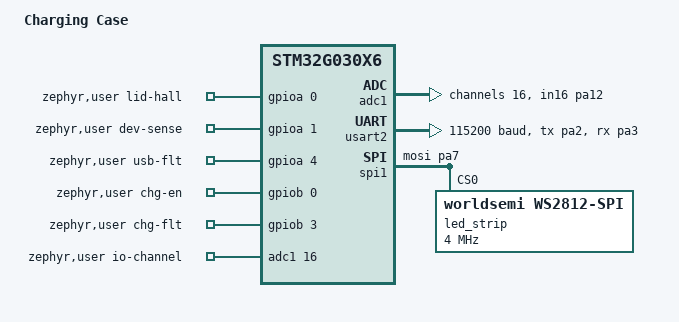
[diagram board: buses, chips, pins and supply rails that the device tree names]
/*
 * Copyright (c) 2025 Siratul Islam
 *
 * SPDX-License-Identifier: Apache-2.0
 */

/dts-v1/;
#include <st/g0/stm32g030X6.dtsi>
#include <st/g0/stm32g030f6px-pinctrl.dtsi>
#include <zephyr/dt-bindings/led/led.h>  
#include <zephyr/dt-bindings/spi/spi.h>

/ {
	model = "Charging Case";
	compatible = "dennischang,chg-case";

	chosen {
		zephyr,console = &usart2;
		zephyr,shell-uart = &usart2;
		zephyr,sram = &sram0;
		zephyr,flash = &flash0;
	};

	zephyr,user{
		lid-hall-gpios = <&gpioa 0 GPIO_ACTIVE_HIGH>; // PIN 7, LID_HALL_N (0V = closed)
		dev-sense-gpios = <&gpioa 1 GPIO_ACTIVE_HIGH>; // PIN 8, DEV_SENSE_N (0V = device present)
		usb-flt-gpios = <&gpioa 4 GPIO_ACTIVE_HIGH>; // PIN 9, USB_FLT_N (0V = fault)
		chg-en-gpios = <&gpiob 0 GPIO_ACTIVE_HIGH>; // PIN 15, EFUSE_CHG_EN (0V = disabled)
		chg-flt-gpios = <&gpiob 3 (GPIO_ACTIVE_HIGH | GPIO_PULL_UP)>; // PIN 20, EFUSE_CHG_FLT (0V = fault)
		io-channels = <&adc1 16>;                                       // PIN 17, PA12 = CHG_IMON
	};
};

&adc1 {
	clocks = <&rcc STM32_CLOCK(APB1_2, 20)>,
		 <&rcc STM32_SRC_SYSCLK ADC_SEL(0)>;
	clock-names = "adcx", "adc_ker";
	pinctrl-0 = <&adc1_in16_pa12>;
	pinctrl-names = "default";
	st,adc-clock-source = "ASYNC";
	st,adc-prescaler = <4>;
	vref-mv = <3300>;                  /* VDDA = 3V3 rail */
	#address-cells = <1>;
	#size-cells = <0>;
	status = "okay";

	channel@10 {                       /* @10 hex = channel 16 */
		reg = <16>;
		zephyr,gain = "ADC_GAIN_1";
		zephyr,reference = "ADC_REF_INTERNAL";
		zephyr,acquisition-time = <ADC_ACQ_TIME_DEFAULT>;
		zephyr,resolution = <12>;
	};
};

&clk_hsi {
	status = "okay";
};

&clk_lse {
	status = "okay";
};

&pll {
	div-m = <1>;
	mul-n = <8>;
	div-r = <2>;
	clocks = <&clk_hsi>;
	status = "okay";
};

&rcc {
	clocks = <&pll>;
	clock-frequency = <DT_FREQ_M(64)>;
	ahb-prescaler = <1>;
	apb1-prescaler = <1>;
};


&usart2 {
	pinctrl-0 = <&usart2_tx_pa2 &usart2_rx_pa3>;
	pinctrl-names = "default";
	current-speed = <115200>;
	status = "okay";
};

/* 

&i2c2 {
	pinctrl-0 = <&i2c2_scl_pa11 &i2c2_sda_pa12>;
	pinctrl-names = "default";
	clock-frequency = <I2C_BITRATE_FAST>;
	status = "okay";
};
*/

&spi1 {
	pinctrl-0 = <&spi1_mosi_pa7>;
	pinctrl-names = "default";
	status = "okay";

	led_strip: ws2812b@0 {
		compatible = "worldsemi,ws2812-spi";
		reg = <0>;
		duplex = <SPI_HALF_DUPLEX>;
		spi-max-frequency = <4000000>;
		/* frame-format = <32768>; */
		spi-one-frame = <0x70>;
		spi-zero-frame = <0x40>;
		chain-length = <4>;                 // D1–D4
		color-mapping = <LED_COLOR_ID_GREEN // WS2812B expects colors in G, R, B order
				 LED_COLOR_ID_RED
				 LED_COLOR_ID_BLUE>;
	};
};
